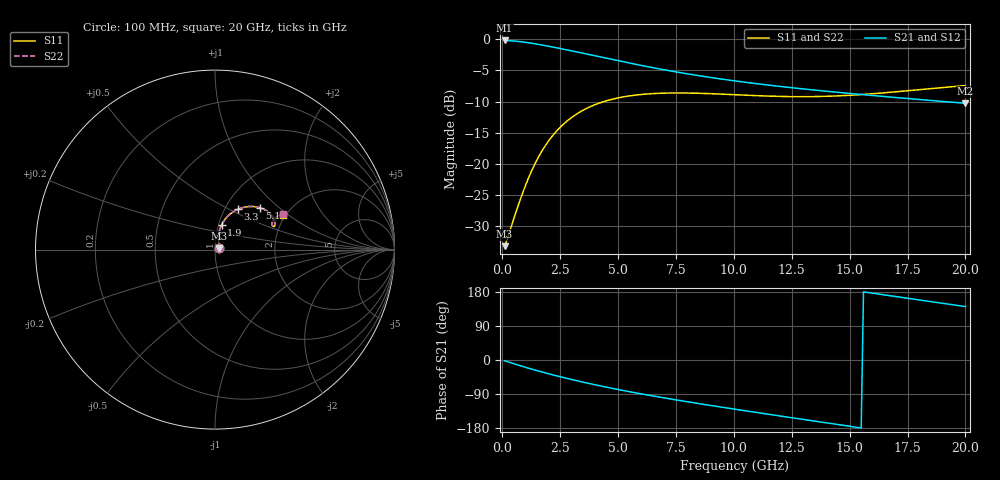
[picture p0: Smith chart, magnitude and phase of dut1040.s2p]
! Touchstone file exported from HFSS 2024.1.0
!  File:  C:/UserFiles/LocalFiles/RDL_TSV_Batchsim/temp_RDL_TSV_1040_1780085599.aedt
!  Generated:  04:30:28 AM May 30, 2026
!  Design:  RDL_TSV
!  Project:  temp_RDL_TSV_1040_1780085599
!  Setup:  Setup1
!  Solution:  Sweep
! Variables:
!  dtsv = 14.79um
!  hbump = 3um
!  htsv = 50.93um
!  ldown = 224.72um
!  lrdl = 660.02um
!  p = 40
!  p1 = 54.29um
!  rhole = 10um
!  subl = 3314.24um
!  t = 450um
!  tdown = 3.03um
!  trdl = 3.98um
!  viad = 10um
!  wdown = 15.82um
!  wrdl = 14.48um
!  xbump = 18um
# GHz S MA R 50.000000
! Terminal data exported
! Port[1] = TM1_1_T1
! Port[2] = TM1_4_T1
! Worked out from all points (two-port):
!   200 points, 100 MHz to 20 GHz, reference 50 ohm
!   highest |S21| = -0.19 dB at 100 MHz (marker M1); lowest = -10.3 dB at 20 GHz (marker M2)
!   |S21| within 3 dB of the highest: start of sweep to 4.675 GHz
!   lowest |S11| = -33.2 dB at 100 MHz (marker M3), VSWR 1.04, Z = 52.1 + j0.649 ohm
!   |S11| at or under -10 dB: start of sweep to 4.378 GHz
!   |S22| runs from -33.2 to -7.4 dB; largest |S21 - S12| = 1e-14
!   S11 on the Smith chart (normalised r, x): 100 MHz: 1.04, +0.01; 1.9 GHz: 1.04, +0.29; 3.3 GHz: 1.15, +0.55; 5.1 GHz: 1.43, +0.76; 20 GHz: 1.93, +0.92
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0.1  0.02191 16.5  0.9785 -2.0  0.9785 -2.0  0.02191 16.5
! Gamma 0 0 0 0
! Port Impedance 50 0 50 0
0.2  0.02452 30.0  0.977 -4.0  0.977 -4.0  0.02451 30.0
0.6  0.04165 60.2  0.9648 -11.8  0.9648 -11.8  0.04165 60.2
1.1  0.07462 74.5  0.9397 -21.0  0.9397 -21.0  0.07461 74.5
1.5  0.108 76.6  0.9145 -28.0  0.9145 -28.0  0.108 76.7
1.9  0.144 74.9  0.8868 -34.7  0.8868 -34.7  0.144 74.9
2.5  0.1969 69.4  0.8434 -44.2  0.8434 -44.2  0.1969 69.4
2.9  0.229 65.0  0.8143 -50.1  0.8143 -50.1  0.229 65.0
3.3  0.2576 60.5  0.7855 -55.9  0.7855 -55.9  0.2576 60.6
3.5  0.2705 58.3  0.7713 -58.7  0.7713 -58.7  0.2706 58.4
4.2  0.3084 51.1  0.7234 -68.0  0.7234 -68.0  0.3085 51.2
5.1  0.3417 43.1  0.6668 -79.1  0.6668 -79.1  0.3418 43.1
5.9  0.3593 37.1  0.6219 -88.3  0.6219 -88.3  0.3594 37.2
6.8  0.369 31.7  0.5777 -98.0  0.5777 -98.0  0.3691 31.8
8.4  0.3693 25.1  0.5136 -114.2  0.5136 -114.2  0.3695 25.2
10.1  0.3588 21.9  0.4621 -130.4  0.4621 -130.4  0.359 21.9
11.7  0.3492 21.6  0.4246 -145.1  0.4246 -145.1  0.3494 21.7
13.4  0.3469 23.4  0.3928 -160.5  0.3928 -160.5  0.3471 23.5
15  0.3554 25.7  0.3678 -174.9  0.3678 -174.9  0.3558 25.8
16.7  0.3749 27.5  0.3447 170.0  0.3447 170.0  0.3754 27.7
18.4  0.4005 28.1  0.3242 155.0  0.3242 155.0  0.4013 28.2
20  0.4253 27.3  0.307 141.0  0.307 141.0  0.4263 27.5
